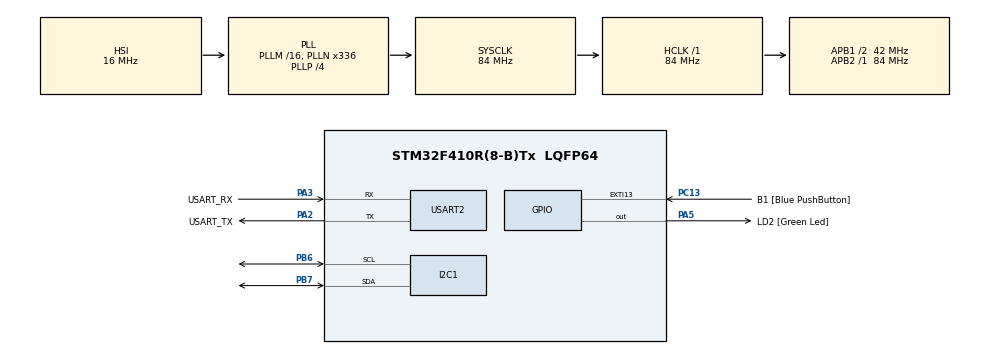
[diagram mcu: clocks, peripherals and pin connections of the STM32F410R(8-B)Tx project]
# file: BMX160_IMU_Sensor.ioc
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Mcu.Family=STM32F4
Mcu.Name=STM32F410R(8-B)Tx
Mcu.Package=LQFP64
NVIC.PriorityGroup=NVIC_PRIORITYGROUP_0
PA13.GPIO_Label=TMS
PA13.Mode=Serial_Wire
PA13.Signal=SYS_JTMS-SWDIO
PA14.GPIO_Label=TCK
PA14.Mode=Serial_Wire
PA14.Signal=SYS_JTCK-SWCLK
PA2.GPIO_Label=USART_TX
PA2.Mode=Asynchronous
PA2.Signal=USART2_TX
PA3.GPIO_Label=USART_RX
PA3.Mode=Asynchronous
PA3.Signal=USART2_RX
PA5.GPIO_Label=LD2 [Green Led]
PA5.Signal=GPIO_Output
PB3.GPIO_Label=SWO
PB3.Signal=SYS_JTDO-SWO
PB6.Mode=I2C
PB6.Signal=I2C1_SCL
PB7.Mode=I2C
PB7.Signal=I2C1_SDA
PC13-ANTI_TAMP.GPIO_Label=B1 [Blue PushButton]
PC13-ANTI_TAMP.GPIO_ModeDefaultEXTI=GPIO_MODE_IT_FALLING
PC13-ANTI_TAMP.Signal=GPXTI13
PC14-OSC32_IN.Mode=LSE-External-Oscillator
PC14-OSC32_IN.Signal=RCC_OSC32_IN
PC15-OSC32_OUT.Mode=LSE-External-Oscillator
PC15-OSC32_OUT.Signal=RCC_OSC32_OUT
PH0\ -\ OSC_IN.Mode=HSE-External-Clock-Source
PH0\ -\ OSC_IN.Signal=RCC_OSC_IN
PH1\ -\ OSC_OUT.Mode=HSE-External-Clock-Source
PH1\ -\ OSC_OUT.Signal=RCC_OSC_OUT
ProjectManager.HeapSize=0x200
ProjectManager.StackSize=0x400
ProjectManager.TargetToolchain=STM32CubeIDE
RCC.48MHZClocksFreq_Value=84000000
RCC.AHBFreq_Value=84000000
RCC.APB1CLKDivider=RCC_HCLK_DIV2
RCC.APB1Freq_Value=42000000
RCC.APB1TimFreq_Value=84000000
RCC.APB2Freq_Value=84000000
RCC.APB2TimFreq_Value=84000000
RCC.CortexFreq_Value=84000000
RCC.FLatency-AdvancedSettings=FLASH_LATENCY_2
RCC.HCLKFreq_Value=84000000
RCC.HSE_VALUE=8000000
RCC.HSI_VALUE=16000000
RCC.PLLN=336
RCC.PLLP=RCC_PLLP_DIV4
RCC.SYSCLKFreq_VALUE=84000000
RCC.SYSCLKSource=RCC_SYSCLKSOURCE_PLLCLK
RCC.VCOOutputFreq_Value=336000000
USART2.VirtualMode=VM_ASYNC
board=NUCLEO-F410RB

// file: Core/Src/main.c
/* USER CODE BEGIN Header */
/**
  ******************************************************************************
  * @file           : main.c
  * @brief          : Main program body
  ******************************************************************************
  * @attention
  *
  * Copyright (c) 2026 STMicroelectronics.
  * All rights reserved.
  *
  * This software is licensed under terms that can be found in the LICENSE file
  * in the root directory of this software component.
  * If no LICENSE file comes with this software, it is provided AS-IS.
  *
  ******************************************************************************
  */
/* USER CODE END Header */
#include "main.h"

/* USER CODE BEGIN Includes */
#include "stdio.h"
#include "bmx160.h"
/* USER CODE END Includes */

I2C_HandleTypeDef hi2c1;

UART_HandleTypeDef huart2;

void SystemClock_Config(void);
static void MX_GPIO_Init(void);
static void MX_I2C1_Init(void);
static void MX_USART2_UART_Init(void);

/* USER CODE BEGIN 0 */
int _write(int file, char *ptr, int len){
	HAL_StatusTypeDef hstatus;
	hstatus = HAL_UART_Transmit(&huart2,(uint8_t *)ptr, len, HAL_MAX_DELAY);
	if(hstatus==HAL_OK)
		return len;
	else
		return -1;
}
/* USER CODE END 0 */

int main(void)
{

  /* MCU Configuration--------------------------------------------------------*/

  /* Reset of all peripherals, Initializes the Flash interface and the Systick. */
  HAL_Init();

  /* Configure the system clock */
  SystemClock_Config();

  /* Initialize all configured peripherals */
  MX_GPIO_Init();
  MX_I2C1_Init();
  MX_USART2_UART_Init();
  /* USER CODE BEGIN 2 */
  BMX160_t sensor;
  bmx160_attach(&sensor, &hi2c1);
  	  printf("\nFinding Sensor...");
  	  if(bmx160_CheckAlive(&sensor)==BMX160_OK){
  		  printf("\nSensor Found!\n");
  	  }else{
  		  printf("\nError finding sensor!\n");
  	  }
  printf("\nInitializing sensor...");
  bmx160_begin(&sensor);
  HAL_Delay(100);
  printf("\nSensor initialized!");

  BMX160_SensorData_t magn;
  BMX160_SensorData_t accel;
  BMX160_SensorData_t gyro;

  /* USER CODE END 2 */

  /* Infinite loop */
  while (1)
  {
//	  print_hello();
//	  printf("\nFinding Sensor...");
//	  if(bmx160_CheckAlive(&sensor)==BMX160_OK){
//		  printf("\nSensor Found!");
//	  }else{
//		  printf("\nError finding sensor!");
//	  }
//	  HAL_Delay(300);

//	  printf("\nSensor initialized!");

//	  printf("\nReading data...");
	  bmx160_GetAllData(&sensor,&magn,&accel,&gyro);

//	  printf("\nAccel Data: %f %f %f",accel.x,accel.y,accel.z);
	  printf("\nGyro Data: %f %f %f",gyro.x,gyro.y,gyro.z);

	  HAL_Delay(50);

//	  data = bmx160_read8(&sensor,0x10);
//	  printf("\nReg Gyro z: %d",data);

  }
}

void SystemClock_Config(void)
{
  RCC_OscInitTypeDef RCC_OscInitStruct = {0};
  RCC_ClkInitTypeDef RCC_ClkInitStruct = {0};

  /** Configure the main internal regulator output voltage
  */
  __HAL_RCC_PWR_CLK_ENABLE();
  __HAL_PWR_VOLTAGESCALING_CONFIG(PWR_REGULATOR_VOLTAGE_SCALE1);

  /** Initializes the RCC Oscillators according to the specified parameters
  * in the RCC_OscInitTypeDef structure.
  */
  RCC_OscInitStruct.OscillatorType = RCC_OSCILLATORTYPE_HSI;
  RCC_OscInitStruct.HSIState = RCC_HSI_ON;
  RCC_OscInitStruct.HSICalibrationValue = RCC_HSICALIBRATION_DEFAULT;
  RCC_OscInitStruct.PLL.PLLState = RCC_PLL_ON;
  RCC_OscInitStruct.PLL.PLLSource = RCC_PLLSOURCE_HSI;
  RCC_OscInitStruct.PLL.PLLM = 16;
  RCC_OscInitStruct.PLL.PLLN = 336;
  RCC_OscInitStruct.PLL.PLLP = RCC_PLLP_DIV4;
  RCC_OscInitStruct.PLL.PLLQ = 4;
  RCC_OscInitStruct.PLL.PLLR = 2;
  if (HAL_RCC_OscConfig(&RCC_OscInitStruct) != HAL_OK)
  {
    Error_Handler();
  }

  /** Initializes the CPU, AHB and APB buses clocks
  */
  RCC_ClkInitStruct.ClockType = RCC_CLOCKTYPE_HCLK|RCC_CLOCKTYPE_SYSCLK
                              |RCC_CLOCKTYPE_PCLK1|RCC_CLOCKTYPE_PCLK2;
  RCC_ClkInitStruct.SYSCLKSource = RCC_SYSCLKSOURCE_PLLCLK;
  RCC_ClkInitStruct.AHBCLKDivider = RCC_SYSCLK_DIV1;
  RCC_ClkInitStruct.APB1CLKDivider = RCC_HCLK_DIV2;
  RCC_ClkInitStruct.APB2CLKDivider = RCC_HCLK_DIV1;

  if (HAL_RCC_ClockConfig(&RCC_ClkInitStruct, FLASH_LATENCY_2) != HAL_OK)
  {
    Error_Handler();
  }
}

static void MX_I2C1_Init(void)
{

  hi2c1.Instance = I2C1;
  hi2c1.Init.ClockSpeed = 100000;
  hi2c1.Init.DutyCycle = I2C_DUTYCYCLE_2;
  hi2c1.Init.OwnAddress1 = 0;
  hi2c1.Init.AddressingMode = I2C_ADDRESSINGMODE_7BIT;
  hi2c1.Init.DualAddressMode = I2C_DUALADDRESS_DISABLE;
  hi2c1.Init.OwnAddress2 = 0;
  hi2c1.Init.GeneralCallMode = I2C_GENERALCALL_DISABLE;
  hi2c1.Init.NoStretchMode = I2C_NOSTRETCH_DISABLE;
  if (HAL_I2C_Init(&hi2c1) != HAL_OK)
  {
    Error_Handler();
  }

}

static void MX_USART2_UART_Init(void)
{

  huart2.Instance = USART2;
  huart2.Init.BaudRate = 115200;
  huart2.Init.WordLength = UART_WORDLENGTH_8B;
  huart2.Init.StopBits = UART_STOPBITS_1;
  huart2.Init.Parity = UART_PARITY_NONE;
  huart2.Init.Mode = UART_MODE_TX_RX;
  huart2.Init.HwFlowCtl = UART_HWCONTROL_NONE;
  huart2.Init.OverSampling = UART_OVERSAMPLING_16;
  if (HAL_UART_Init(&huart2) != HAL_OK)
  {
    Error_Handler();
  }

}

static void MX_GPIO_Init(void)
{
  GPIO_InitTypeDef GPIO_InitStruct = {0};

  /* GPIO Ports Clock Enable */
  __HAL_RCC_GPIOC_CLK_ENABLE();
  __HAL_RCC_GPIOH_CLK_ENABLE();
  __HAL_RCC_GPIOA_CLK_ENABLE();
  __HAL_RCC_GPIOB_CLK_ENABLE();

  /*Configure GPIO pin Output Level */
  HAL_GPIO_WritePin(LD2_GPIO_Port, LD2_Pin, GPIO_PIN_RESET);

  /*Configure GPIO pin : B1_Pin */
  GPIO_InitStruct.Pin = B1_Pin;
  GPIO_InitStruct.Mode = GPIO_MODE_IT_FALLING;
  GPIO_InitStruct.Pull = GPIO_NOPULL;
  HAL_GPIO_Init(B1_GPIO_Port, &GPIO_InitStruct);

  /*Configure GPIO pin : LD2_Pin */
  GPIO_InitStruct.Pin = LD2_Pin;
  GPIO_InitStruct.Mode = GPIO_MODE_OUTPUT_PP;
  GPIO_InitStruct.Pull = GPIO_NOPULL;
  GPIO_InitStruct.Speed = GPIO_SPEED_FREQ_LOW;
  HAL_GPIO_Init(LD2_GPIO_Port, &GPIO_InitStruct);

}

void Error_Handler(void)
{
  __disable_irq();
  while (1)
  {
  }
}
